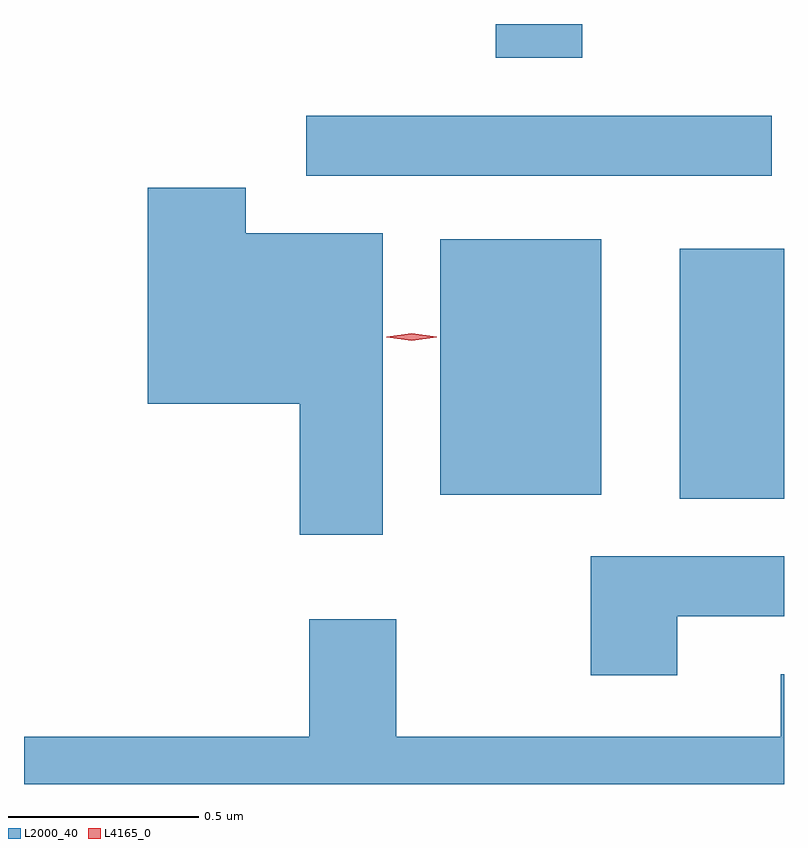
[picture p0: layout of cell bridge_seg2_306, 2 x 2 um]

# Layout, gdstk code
import gdstk
lib = gdstk.Library(unit=1e-6, precision=1e-09)
def R(c, l, rs):  # rectangles x0, y0, x1, y1
    for r in rs: c.add(gdstk.rectangle(r[:2], r[2:], *l))
def P(c, l, *ps):  # polygons
    for p in ps: c.add(gdstk.Polygon(p, *l))
L2000_40 = (2000, 40)
L4165_0 = (4165, 0)

bridge_seg2_306 = lib.new_cell('bridge_seg2_306')
R(bridge_seg2_306, L2000_40, [(607.756,1102.491,608.03,1103.149), (607.126,1102.501,607.549,1103.174), (606.773,1103.341,607.998,1103.499), (607.271,1103.651,607.499,1103.74)])
P(bridge_seg2_306, L2000_40, [(606.974,1103.189),(606.614,1103.189),(606.614,1103.309),(606.356,1103.309),(606.356,1102.741),(606.756,1102.741),(606.756,1102.396),(606.974,1102.396)],
  [(607.749,1102.181),(608.03,1102.181),(608.03,1102.339),(607.521,1102.339),(607.521,1102.026),(607.749,1102.026)],
  [(608.03,1102.029),(608.021,1102.029),(608.021,1101.864),(607.009,1101.864),(607.009,1102.174),(606.781,1102.174),(606.781,1101.864),(606.03,1101.864),(606.03,1101.74),(608.03,1101.74)])
P(bridge_seg2_306, L4165_0, [(607.05,1102.906),(606.984,1102.916),(606.983,1102.916),(606.984,1102.917),(607.05,1102.926),(607.116,1102.917),(607.116,1102.916),(607.116,1102.916)])

lib.write_gds('bridge_seg2_306.gds')
